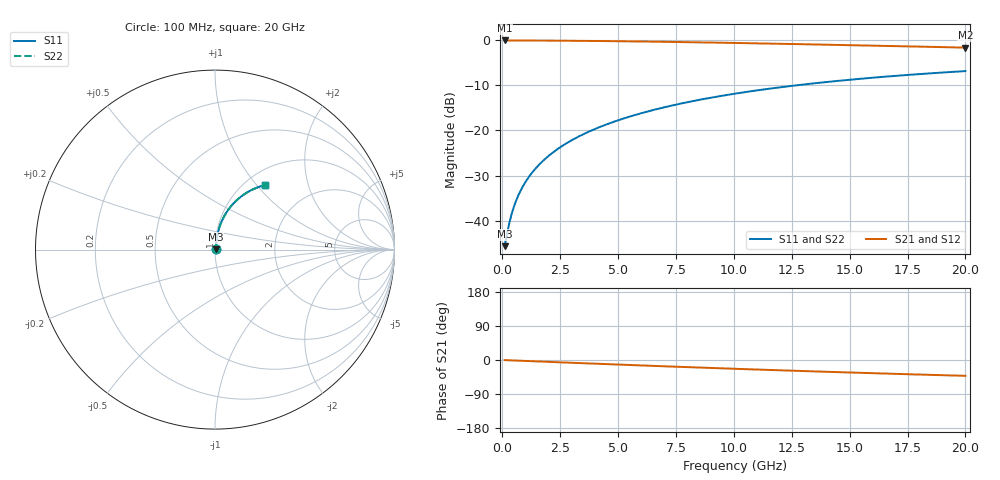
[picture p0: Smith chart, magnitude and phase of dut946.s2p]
! Touchstone file exported from HFSS 2024.1.0
!  File:  C:/UserFiles/LocalFiles/RDL_TSV_Batchsim/temp_RDL_top_946_1779937801.aedt
!  Generated:  11:13:03 AM May 28, 2026
!  Design:  RDL_top
!  Project:  temp_RDL_top_946_1779937801
!  Setup:  Setup1
!  Solution:  Sweep
! Variables:
!  dtsv = 10.80580581um
!  hbump = 3um
!  htsv = 96.17um
!  ldown = 100um
!  lrdl = 521.98um
!  p = 40
!  p1 = 53.47um
!  rhole = 1um
!  t = 450um
!  tdown = 3.915915916um
!  trdl = 2.83um
!  wdown = 15.38538539um
!  wrdl = 15.16um
# GHz S MA R 50.000000
! Terminal data exported
! Port[1] = Box2_T1
! Port[2] = Box2_T2
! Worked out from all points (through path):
!   200 points, 100 MHz to 20 GHz, reference 50 ohm
!   highest |S21| = -0.04 dB at 100 MHz (marker M1); lowest = -1.6 dB at 20 GHz (marker M2)
!   group delay of S21, straight-line fit = 5.8 ps
!   lowest |S11| = -45.6 dB at 100 MHz (marker M3), VSWR 1.01, Z = 50.4 + j0.275 ohm
!   |S11| at or under -10 dB: start of sweep to 12.68 GHz
!   |S22| runs from -45.6 to -6.8 dB; largest |S21 - S12| = 3.2e-15
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0.1  0.005218 31.5  0.9955 -0.3  0.9955 -0.3  0.005218 31.5
! Gamma 0 0 0 0
! Port Impedance 50 0 50 0
0.2  0.007076 50.1  0.9955 -0.5  0.9955 -0.5  0.007076 50.1
0.3  0.00935 60.0  0.9953 -0.8  0.9953 -0.8  0.00935 60.0
0.4  0.01177 65.8  0.9952 -1.0  0.9952 -1.0  0.01177 65.8
0.5  0.01425 69.5  0.995 -1.3  0.995 -1.3  0.01425 69.5
0.6  0.01675 72.0  0.9948 -1.5  0.9948 -1.5  0.01675 72.0
0.8  0.02177 75.2  0.9945 -2.0  0.9945 -2.0  0.02177 75.2
1.1  0.02934 77.9  0.9939 -2.7  0.9939 -2.7  0.02934 77.9
1.3  0.03442 79.0  0.9934 -3.2  0.9934 -3.2  0.03442 79.0
1.6  0.04206 80.0  0.9927 -4.0  0.9927 -4.0  0.04206 80.0
2.1  0.05485 80.7  0.9913 -5.2  0.9913 -5.2  0.05485 80.7
2.7  0.07028 80.9  0.9891 -6.6  0.9891 -6.6  0.07028 80.9
3.5  0.09092 80.4  0.9855 -8.5  0.9855 -8.5  0.09092 80.4
4.2  0.109 79.7  0.9818 -10.2  0.9818 -10.2  0.109 79.7
5  0.1297 78.6  0.9768 -12.1  0.9768 -12.1  0.1296 78.6
5.9  0.1528 77.3  0.9705 -14.2  0.9705 -14.2  0.1528 77.2
6.8  0.1758 75.8  0.9635 -16.2  0.9635 -16.2  0.1757 75.8
8.4  0.2159 72.9  0.9498 -19.7  0.9498 -19.7  0.2159 72.9
10.1  0.2572 69.8  0.9338 -23.3  0.9338 -23.3  0.2571 69.8
13.4  0.3319 63.6  0.9 -30.0  0.9 -30.0  0.3318 63.6
16.7  0.3981 57.7  0.8647 -36.1  0.8647 -36.1  0.398 57.7
20  0.4555 52.1  0.8293 -41.8  0.8293 -41.8  0.4554 52.1
